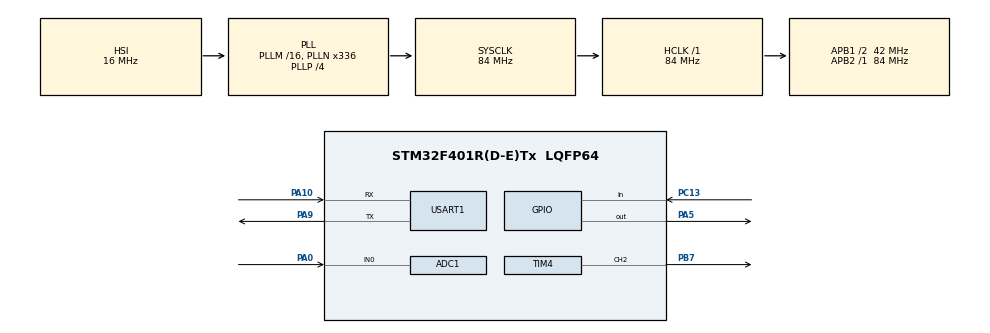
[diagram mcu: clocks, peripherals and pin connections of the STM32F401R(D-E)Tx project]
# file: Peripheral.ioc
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ADC1.Channel-0\#ChannelRegularConversion=ADC_CHANNEL_0
ADC1.ClockPrescaler=ADC_CLOCK_SYNC_PCLK_DIV8
ADC1.NbrOfConversionFlag=1
ADC1.Rank-0\#ChannelRegularConversion=1
ADC1.SamplingTime-0\#ChannelRegularConversion=ADC_SAMPLETIME_480CYCLES
ADC1.master=1
Mcu.Family=STM32F4
Mcu.Name=STM32F401R(D-E)Tx
Mcu.Package=LQFP64
NVIC.PriorityGroup=NVIC_PRIORITYGROUP_0
NVIC.TIM3_IRQn=true\:0\:0\:false\:false\:true\:true\:true\:true
PA0-WKUP.Signal=ADCx_IN0
PA10.Mode=Asynchronous
PA10.Signal=USART1_RX
PA14.GPIO_Label=TCK
PA14.Signal=SYS_JTCK-SWCLK
PA5.Signal=GPIO_Output
PA9.Mode=Asynchronous
PA9.Signal=USART1_TX
PB3.GPIO_Label=SWO
PB3.Signal=SYS_JTDO-SWO
PB7.Signal=S_TIM4_CH2
PC13-ANTI_TAMP.Signal=GPIO_Input
PC14-OSC32_IN.Mode=LSE-External-Oscillator
PC14-OSC32_IN.Signal=RCC_OSC32_IN
PC15-OSC32_OUT.Mode=LSE-External-Oscillator
PC15-OSC32_OUT.Signal=RCC_OSC32_OUT
PH0\ -\ OSC_IN.Mode=HSE-External-Clock-Source
PH0\ -\ OSC_IN.Signal=RCC_OSC_IN
PH1\ -\ OSC_OUT.Mode=HSE-External-Clock-Source
PH1\ -\ OSC_OUT.Signal=RCC_OSC_OUT
ProjectManager.HeapSize=0x200
ProjectManager.StackSize=0x400
ProjectManager.TargetToolchain=STM32CubeIDE
RCC.48MHZClocksFreq_Value=48000000
RCC.AHBFreq_Value=84000000
RCC.APB1CLKDivider=RCC_HCLK_DIV2
RCC.APB1Freq_Value=42000000
RCC.APB1TimFreq_Value=84000000
RCC.APB2Freq_Value=84000000
RCC.APB2TimFreq_Value=84000000
RCC.CortexFreq_Value=84000000
RCC.HCLKFreq_Value=84000000
RCC.HSE_VALUE=8000000
RCC.HSI_VALUE=16000000
RCC.PLLN=336
RCC.PLLP=RCC_PLLP_DIV4
RCC.PLLQ=7
RCC.SYSCLKFreq_VALUE=84000000
RCC.SYSCLKSource=RCC_SYSCLKSOURCE_PLLCLK
RCC.VCOOutputFreq_Value=336000000
SH.ADCx_IN0.0=ADC1_IN0,IN0
SH.S_TIM4_CH2.0=TIM4_CH2,PWM Generation2 CH2
TIM3.Period=49999
TIM3.Prescaler=8399
TIM4.Channel-PWM\ Generation2\ CH2=TIM_CHANNEL_2
TIM4.Period=19999
TIM4.Prescaler=83
TIM4.Pulse-PWM\ Generation2\ CH2=2400
USART1.VirtualMode=VM_ASYNC
VP_TIM3_VS_ClockSourceINT.Mode=Internal
board=NUCLEO-F401RE

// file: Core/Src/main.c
/* USER CODE BEGIN Header */
/**
 ******************************************************************************
 * @file           : main.c
 * @brief          : Main program body
 ******************************************************************************
 * @attention
 *
 * Copyright (c) 2022 STMicroelectronics.
 * All rights reserved.
 *
 * This software is licensed under terms that can be found in the LICENSE file
 * in the root directory of this software component.
 * If no LICENSE file comes with this software, it is provided AS-IS.
 *
 ******************************************************************************
 */
/* USER CODE END Header */
#include "main.h"

ADC_HandleTypeDef hadc1;

TIM_HandleTypeDef htim3;
TIM_HandleTypeDef htim4;

UART_HandleTypeDef huart1;

void SystemClock_Config(void);
static void MX_GPIO_Init(void);
static void MX_USART1_UART_Init(void);
static void MX_TIM4_Init(void);
static void MX_ADC1_Init(void);
static void MX_TIM3_Init(void);

/* USER CODE BEGIN 0 */
#define TIM4_ADDR 				0x40000800	// timer 4 base register
#define TIM_CCR2_OFFSET 		0x38		// capture/compare register 2
#define CCR_MASK 				0xFFFF
#define PWM0 					1500
#define PWM90 					2400

#define DATA_SIZE 				2
#define RECEIVED_DATA_SIZE		1
#define SEND_DESIRED_STATE		0x00
#define RECEIVE_CURRENT_TEMP	0x80
#define FURNACE_ON				0x80
#define FURNACE_OFF				0x00
#define VENT_ID_1				0x01
#define VENT_ID_2				0x02
#define VENT_ID_3				0x03

uint8_t id = 2;
uint8_t temp = 65;
uint8_t goal = 65;
int furnaceState = 0;

void openVent() {
	uint32_t *tim4_ccr2 = (uint32_t*) (TIM4_ADDR + TIM_CCR2_OFFSET);
	*tim4_ccr2 &= ~CCR_MASK;
	*tim4_ccr2 |= PWM0;
}

void closeVent() {
	uint32_t *tim4_ccr2 = (uint32_t*) (TIM4_ADDR + TIM_CCR2_OFFSET);
	*tim4_ccr2 &= ~CCR_MASK;
	*tim4_ccr2 |= PWM90;
}

void getTemp() {
	float Vref = 3.3;
	float ADC_VAL = 0;

	HAL_ADC_Start(&hadc1); //start conversion
	HAL_ADC_PollForConversion(&hadc1, 0xFFFFFFFF); //wait for conversion to finish
	ADC_VAL = (float)HAL_ADC_GetValue(&hadc1); //retrieve value

	float ADC_to_V = ADC_VAL * Vref / 4096.0f; //converts ADC output to volts
	float tempC = (ADC_to_V - 0.5f) * (1.0f / 0.01f); // converts temp sensor voltage to degrees Celsius
	temp = (uint8_t)((tempC * 9.0f / 5.0f) + 32.0f);  // converts to F
}

/* USER CODE END 0 */

int main(void) {

	/* MCU Configuration--------------------------------------------------------*/

	/* Reset of all peripherals, Initializes the Flash interface and the Systick. */
	HAL_Init();

	/* Configure the system clock */
	SystemClock_Config();

	/* Initialize all configured peripherals */
	MX_GPIO_Init();
	MX_USART1_UART_Init();
	MX_TIM4_Init();
	MX_ADC1_Init();
	MX_TIM3_Init();
	/* USER CODE BEGIN 2 */

	HAL_TIM_Base_Start_IT(&htim3);
	HAL_TIM_PWM_Start(&htim4, TIM_CHANNEL_2);

	/* USER CODE END 2 */

	/* Infinite loop */
	/* USER CODE BEGIN WHILE */
	uint8_t inData = 0;
	uint64_t timer = 0;
	while (1) {
		/* USER CODE END WHILE */

		/* USER CODE BEGIN 3 */
//		heat on + goal > higher than current => open vent
//		air on + goal < than current => close vent

		while (HAL_UART_Receive(&huart1, &inData, 1, 100) != HAL_OK) timer++;
		if((inData & 0x0F) != id) continue;

		timer = 0;
		while (HAL_UART_Transmit(&huart1, &temp, 1, 100) != HAL_OK) timer++;
		goal = inData >> 4;

		timer = 0;
		while (HAL_UART_Receive(&huart1, &inData, 1, 100) != HAL_OK) timer++;
		if((inData & 0x0F) != id) continue;

		timer = 0;
		while (HAL_UART_Transmit(&huart1, &temp, 1, 100) != HAL_OK) timer++;
		goal |= inData & 0xF0;

		timer = 0;
		while (HAL_UART_Receive(&huart1, &inData, 1, 100) != HAL_OK) timer++;
		if((inData & 0x0F) != id) continue;

		timer = 0;
		while (HAL_UART_Transmit(&huart1, &temp, 1, 100) != HAL_OK) timer++;
		furnaceState = inData >> 4;
	}
	/* USER CODE END 3 */
}

void SystemClock_Config(void) {
	RCC_OscInitTypeDef RCC_OscInitStruct = { 0 };
	RCC_ClkInitTypeDef RCC_ClkInitStruct = { 0 };

	/** Configure the main internal regulator output voltage
	 */
	__HAL_RCC_PWR_CLK_ENABLE();
	__HAL_PWR_VOLTAGESCALING_CONFIG(PWR_REGULATOR_VOLTAGE_SCALE2);

	/** Initializes the RCC Oscillators according to the specified parameters
	 * in the RCC_OscInitTypeDef structure.
	 */
	RCC_OscInitStruct.OscillatorType = RCC_OSCILLATORTYPE_HSI;
	RCC_OscInitStruct.HSIState = RCC_HSI_ON;
	RCC_OscInitStruct.HSICalibrationValue = RCC_HSICALIBRATION_DEFAULT;
	RCC_OscInitStruct.PLL.PLLState = RCC_PLL_ON;
	RCC_OscInitStruct.PLL.PLLSource = RCC_PLLSOURCE_HSI;
	RCC_OscInitStruct.PLL.PLLM = 16;
	RCC_OscInitStruct.PLL.PLLN = 336;
	RCC_OscInitStruct.PLL.PLLP = RCC_PLLP_DIV4;
	RCC_OscInitStruct.PLL.PLLQ = 7;
	if (HAL_RCC_OscConfig(&RCC_OscInitStruct) != HAL_OK) {
		Error_Handler();
	}

	/** Initializes the CPU, AHB and APB buses clocks
	 */
	RCC_ClkInitStruct.ClockType = RCC_CLOCKTYPE_HCLK | RCC_CLOCKTYPE_SYSCLK
			| RCC_CLOCKTYPE_PCLK1 | RCC_CLOCKTYPE_PCLK2;
	RCC_ClkInitStruct.SYSCLKSource = RCC_SYSCLKSOURCE_PLLCLK;
	RCC_ClkInitStruct.AHBCLKDivider = RCC_SYSCLK_DIV1;
	RCC_ClkInitStruct.APB1CLKDivider = RCC_HCLK_DIV2;
	RCC_ClkInitStruct.APB2CLKDivider = RCC_HCLK_DIV1;

	if (HAL_RCC_ClockConfig(&RCC_ClkInitStruct, FLASH_LATENCY_2) != HAL_OK) {
		Error_Handler();
	}
}

static void MX_ADC1_Init(void) {

	ADC_ChannelConfTypeDef sConfig = { 0 };

	/** Configure the global features of the ADC (Clock, Resolution, Data Alignment and number of conversion)
	 */
	hadc1.Instance = ADC1;
	hadc1.Init.ClockPrescaler = ADC_CLOCK_SYNC_PCLK_DIV8;
	hadc1.Init.Resolution = ADC_RESOLUTION_12B;
	hadc1.Init.ScanConvMode = DISABLE;
	hadc1.Init.ContinuousConvMode = DISABLE;
	hadc1.Init.DiscontinuousConvMode = DISABLE;
	hadc1.Init.ExternalTrigConvEdge = ADC_EXTERNALTRIGCONVEDGE_NONE;
	hadc1.Init.ExternalTrigConv = ADC_SOFTWARE_START;
	hadc1.Init.DataAlign = ADC_DATAALIGN_RIGHT;
	hadc1.Init.NbrOfConversion = 1;
	hadc1.Init.DMAContinuousRequests = DISABLE;
	hadc1.Init.EOCSelection = ADC_EOC_SINGLE_CONV;
	if (HAL_ADC_Init(&hadc1) != HAL_OK) {
		Error_Handler();
	}

	/** Configure for the selected ADC regular channel its corresponding rank in the sequencer and its sample time.
	 */
	sConfig.Channel = ADC_CHANNEL_0;
	sConfig.Rank = 1;
	sConfig.SamplingTime = ADC_SAMPLETIME_480CYCLES;
	if (HAL_ADC_ConfigChannel(&hadc1, &sConfig) != HAL_OK) {
		Error_Handler();
	}

}

static void MX_TIM3_Init(void) {

	TIM_ClockConfigTypeDef sClockSourceConfig = { 0 };
	TIM_MasterConfigTypeDef sMasterConfig = { 0 };

	htim3.Instance = TIM3;
	htim3.Init.Prescaler = 8399;
	htim3.Init.CounterMode = TIM_COUNTERMODE_UP;
	htim3.Init.Period = 49999;
	htim3.Init.ClockDivision = TIM_CLOCKDIVISION_DIV1;
	htim3.Init.AutoReloadPreload = TIM_AUTORELOAD_PRELOAD_DISABLE;
	if (HAL_TIM_Base_Init(&htim3) != HAL_OK) {
		Error_Handler();
	}
	sClockSourceConfig.ClockSource = TIM_CLOCKSOURCE_INTERNAL;
	if (HAL_TIM_ConfigClockSource(&htim3, &sClockSourceConfig) != HAL_OK) {
		Error_Handler();
	}
	sMasterConfig.MasterOutputTrigger = TIM_TRGO_RESET;
	sMasterConfig.MasterSlaveMode = TIM_MASTERSLAVEMODE_DISABLE;
	if (HAL_TIMEx_MasterConfigSynchronization(&htim3, &sMasterConfig)
			!= HAL_OK) {
		Error_Handler();
	}

}

static void MX_TIM4_Init(void) {

	TIM_MasterConfigTypeDef sMasterConfig = { 0 };
	TIM_OC_InitTypeDef sConfigOC = { 0 };

	htim4.Instance = TIM4;
	htim4.Init.Prescaler = 83;
	htim4.Init.CounterMode = TIM_COUNTERMODE_UP;
	htim4.Init.Period = 19999;
	htim4.Init.ClockDivision = TIM_CLOCKDIVISION_DIV1;
	htim4.Init.AutoReloadPreload = TIM_AUTORELOAD_PRELOAD_DISABLE;
	if (HAL_TIM_PWM_Init(&htim4) != HAL_OK) {
		Error_Handler();
	}
	sMasterConfig.MasterOutputTrigger = TIM_TRGO_RESET;
	sMasterConfig.MasterSlaveMode = TIM_MASTERSLAVEMODE_DISABLE;
	if (HAL_TIMEx_MasterConfigSynchronization(&htim4, &sMasterConfig)
			!= HAL_OK) {
		Error_Handler();
	}
	sConfigOC.OCMode = TIM_OCMODE_PWM1;
	sConfigOC.Pulse = 2400;
	sConfigOC.OCPolarity = TIM_OCPOLARITY_HIGH;
	sConfigOC.OCFastMode = TIM_OCFAST_DISABLE;
	if (HAL_TIM_PWM_ConfigChannel(&htim4, &sConfigOC, TIM_CHANNEL_2)
			!= HAL_OK) {
		Error_Handler();
	}
	HAL_TIM_MspPostInit(&htim4);

}

static void MX_USART1_UART_Init(void) {

	huart1.Instance = USART1;
	huart1.Init.BaudRate = 115200;
	huart1.Init.WordLength = UART_WORDLENGTH_8B;
	huart1.Init.StopBits = UART_STOPBITS_1;
	huart1.Init.Parity = UART_PARITY_NONE;
	huart1.Init.Mode = UART_MODE_TX_RX;
	huart1.Init.HwFlowCtl = UART_HWCONTROL_NONE;
	huart1.Init.OverSampling = UART_OVERSAMPLING_16;
	if (HAL_UART_Init(&huart1) != HAL_OK) {
		Error_Handler();
	}

}

static void MX_GPIO_Init(void) {
	GPIO_InitTypeDef GPIO_InitStruct = { 0 };

	/* GPIO Ports Clock Enable */
	__HAL_RCC_GPIOC_CLK_ENABLE();
	__HAL_RCC_GPIOH_CLK_ENABLE();
	__HAL_RCC_GPIOA_CLK_ENABLE();
	__HAL_RCC_GPIOB_CLK_ENABLE();

	/*Configure GPIO pin Output Level */
	HAL_GPIO_WritePin(GPIOA, GPIO_PIN_5, GPIO_PIN_RESET);

	/*Configure GPIO pin : PC13 */
	GPIO_InitStruct.Pin = GPIO_PIN_13;
	GPIO_InitStruct.Mode = GPIO_MODE_INPUT;
	GPIO_InitStruct.Pull = GPIO_NOPULL;
	HAL_GPIO_Init(GPIOC, &GPIO_InitStruct);

	/*Configure GPIO pin : PA5 */
	GPIO_InitStruct.Pin = GPIO_PIN_5;
	GPIO_InitStruct.Mode = GPIO_MODE_OUTPUT_PP;
	GPIO_InitStruct.Pull = GPIO_NOPULL;
	GPIO_InitStruct.Speed = GPIO_SPEED_FREQ_LOW;
	HAL_GPIO_Init(GPIOA, &GPIO_InitStruct);

}

/* USER CODE BEGIN 4 */
void HAL_TIM_PeriodElapsedCallback(TIM_HandleTypeDef *htim) {
	if (htim == &htim3) {
		getTemp();
		if (furnaceState && temp < goal) {
			openVent();
		}
		else if (furnaceState && temp >= goal) {
			closeVent();
		}
		else if (!furnaceState && temp > goal) {
			openVent();
		}
		else if (!furnaceState && temp <= goal) {
			closeVent();
		}
	}
}
/* USER CODE END 4 */

void Error_Handler(void) {
	__disable_irq();
	while (1) {
	}
}
